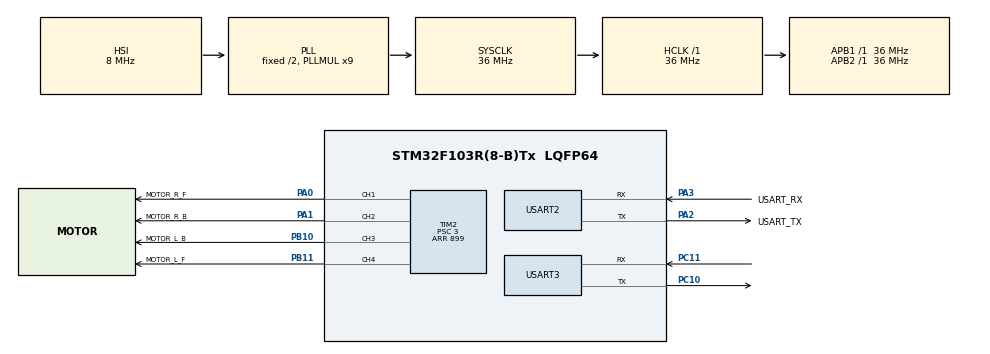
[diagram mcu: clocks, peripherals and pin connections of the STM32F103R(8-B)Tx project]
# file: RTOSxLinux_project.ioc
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FREERTOS.Tasks01=defaultTask,0,128,StartDefaultTask,Default,NULL,Dynamic,NULL,NULL
FREERTOS.configUSE_NEWLIB_REENTRANT=0
Mcu.Family=STM32F1
Mcu.Name=STM32F103R(8-B)Tx
Mcu.Package=LQFP64
NVIC.PriorityGroup=NVIC_PRIORITYGROUP_4
NVIC.TIM2_IRQn=true\:5\:0\:false\:false\:true\:true\:true\:true\:true
PA0-WKUP.GPIO_Label=MOTOR_R_F
PA0-WKUP.Signal=S_TIM2_CH1_ETR
PA1.GPIO_Label=MOTOR_R_B
PA1.Signal=S_TIM2_CH2
PA13.GPIO_Label=TMS
PA13.Mode=Serial_Wire
PA13.Signal=SYS_JTMS-SWDIO
PA14.GPIO_Label=TCK
PA14.Mode=Serial_Wire
PA14.Signal=SYS_JTCK-SWCLK
PA2.GPIO_Label=USART_TX
PA2.GPIO_Mode=GPIO_MODE_AF_PP
PA2.GPIO_PuPd=GPIO_NOPULL
PA2.GPIO_Speed=GPIO_SPEED_FREQ_LOW
PA2.Mode=Asynchronous
PA2.Signal=USART2_TX
PA3.GPIO_Label=USART_RX
PA3.GPIO_Mode=GPIO_MODE_AF_PP
PA3.GPIO_PuPd=GPIO_NOPULL
PA3.GPIO_Speed=GPIO_SPEED_FREQ_LOW
PA3.Mode=Asynchronous
PA3.Signal=USART2_RX
PB10.GPIO_Label=MOTOR_L_B
PB10.Signal=S_TIM2_CH3
PB11.GPIO_Label=MOTOR_L_F
PB11.Signal=S_TIM2_CH4
PC10.Mode=Asynchronous
PC10.Signal=USART3_TX
PC11.Mode=Asynchronous
PC11.Signal=USART3_RX
PC14-OSC32_IN.Mode=LSE-External-Oscillator
PC14-OSC32_IN.Signal=RCC_OSC32_IN
PC15-OSC32_OUT.Mode=LSE-External-Oscillator
PC15-OSC32_OUT.Signal=RCC_OSC32_OUT
PD0-OSC_IN.Mode=HSE-External-Oscillator
PD0-OSC_IN.Signal=RCC_OSC_IN
PD1-OSC_OUT.Mode=HSE-External-Oscillator
PD1-OSC_OUT.Signal=RCC_OSC_OUT
ProjectManager.HeapSize=0x200
ProjectManager.StackSize=0x400
ProjectManager.TargetToolchain=STM32CubeIDE
RCC.AHBFreq_Value=36000000
RCC.APB1Freq_Value=36000000
RCC.APB1TimFreq_Value=36000000
RCC.APB2Freq_Value=36000000
RCC.APB2TimFreq_Value=36000000
RCC.HCLKFreq_Value=36000000
RCC.PLLMUL=RCC_PLL_MUL9
RCC.RTCClockSelection=RCC_RTCCLKSOURCE_LSE
RCC.SYSCLKFreq_VALUE=36000000
RCC.SYSCLKSource=RCC_SYSCLKSOURCE_PLLCLK
RCC.USBFreq_Value=36000000
SH.S_TIM2_CH1_ETR.0=TIM2_CH1,PWM Generation1 CH1
SH.S_TIM2_CH2.0=TIM2_CH2,PWM Generation2 CH2
SH.S_TIM2_CH3.0=TIM2_CH3,PWM Generation3 CH3
SH.S_TIM2_CH4.0=TIM2_CH4,PWM Generation4 CH4
TIM2.Channel-PWM\ Generation1\ CH1=TIM_CHANNEL_1
TIM2.Channel-PWM\ Generation2\ CH2=TIM_CHANNEL_2
TIM2.Channel-PWM\ Generation3\ CH3=TIM_CHANNEL_3
TIM2.Channel-PWM\ Generation4\ CH4=TIM_CHANNEL_4
TIM2.Period=899
TIM2.Prescaler=3
TIM2.Pulse-PWM\ Generation1\ CH1=250
TIM2.Pulse-PWM\ Generation2\ CH2=0
TIM2.Pulse-PWM\ Generation3\ CH3=0
USART2.Parity=PARITY_NONE
USART2.VirtualMode=VM_ASYNC
USART3.VirtualMode=VM_ASYNC
VP_FREERTOS_VS_CMSIS_V1.Mode=CMSIS_V1
VP_TIM2_VS_ClockSourceINT.Mode=Internal
board=NUCLEO-F103RB

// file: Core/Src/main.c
/* USER CODE BEGIN Header */
/**
  ******************************************************************************
  * @file           : main.c
  * @brief          : Main program body
  ******************************************************************************
  * @attention
  *
  * Copyright (c) 2025 STMicroelectronics.
  * All rights reserved.
  *
  * This software is licensed under terms that can be found in the LICENSE file
  * in the root directory of this software component.
  * If no LICENSE file comes with this software, it is provided AS-IS.
  *
  ******************************************************************************
  */
/* USER CODE END Header */
#include "main.h"
#include "cmsis_os.h"

/* USER CODE BEGIN Includes */
#include "stm32f1xx_hal.h"
#include <stdio.h>
#include <string.h>
#include <stdlib.h>
#include <math.h>
/* USER CODE END Includes */

/* USER CODE BEGIN PTD */

typedef struct {
    float linear_v;  // 선형 속도 v
    float angular_w; // 각속도 w
} MotorCommand_t;

/* USER CODE END PTD */

/* USER CODE BEGIN PD */
//                         BOARD PIN   || MOTOR DRIVER PIN
// 왼쪽 모터 (Motor B)
#define MOTOR_L_F_Port      GPIOB       // B-IA가 연결된 포트
#define MOTOR_L_F_Pin       GPIO_PIN_11  // B-IA가 연결된 핀 (왼쪽 정방향)
#define MOTOR_L_B_Port      GPIOB       // B-IB가 연결된 포트
#define MOTOR_L_B_Pin       GPIO_PIN_10  // B-IB가 연결된 핀 (왼쪽 역방향)

/* ===========================
 *  PWM / Timer 설정
 * =========================== */
// PWM 주기 계산식: PWM_freq = Timer_clk / ((PSC+1) × (ARR+1))
#define PWM_TIMER_PERIOD      (899)   // ARR 값
#define MOTOR_PWM_DEADZONE    (670)   // 모터가 돌기 시작하는 최소 Pulse 값
#define PWM_CLIP              (PWM_TIMER_PERIOD)

/* ===========================
 * 바퀴 파라미터
 * =========================== */
#define WHEEL_RADIUS_M        (0.033f)   // 바퀴 반지름 [m]
#define WHEEL_BASE_M          (0.12f)    // 좌/우 바퀴 간 거리 [m]

/* ===========================
 *  모터 파라미터
 * =========================== */
#define MOTOR_MAX_RPM         (200.0f)   // 모터 최대 RPM (HC02-48 모터로 추정됨)
#define MOTOR_DEADZONE_RPM    (10.0f)

/* ===========================
 *  제어 파라미터 (튜닝 필요)
 * =========================== */
#define KP_ANG                (0.3f)   // [rad -> rad/s] 각속도 비례 게인
#define BETA_CURVE            (0.03f)    // 조향각 클수록 감속 (rad 기준)
#define V_TARGET              (0.1f)    // 기본 목표 선속도 [m/s]

/* 속도 제한/보정 */
#define V_MIN_CLAMP           (0.005f)   // 최소 선속도 제한 [m/s]
#define V_MAX_CLAMP           (0.05f)    // 최대 선속도 제한 [m/s]

/* ===========================
 *  필터링 / 제어 주기
 * =========================== */
#define ALPHA_V               (0.2f)     // 속도 스무딩 계수 (0~1)
#define ALPHA_W               (0.3f)     // 각속도 스무딩 계수
#define CONTROL_PERIOD_MS     (20)       // 모터 제어 주기 [ms] (50Hz)

// FreeRTOS
#define UART_LINE_MAX         (50)
#define MOTOR_QUEUE_DEPTH     (4)

/* USER CODE END PD */

TIM_HandleTypeDef htim2;

UART_HandleTypeDef huart2;
UART_HandleTypeDef huart3;

osThreadId defaultTaskHandle;
/* USER CODE BEGIN PV */
QueueHandle_t motorCommandQueue;

TaskHandle_t uartReceiveTaskHandle;
TaskHandle_t motorControlTaskHandle;

/* UART 인터럽트 수신용 */
static uint8_t  uart_rx_byte;
static char     uart_line_buf[UART_LINE_MAX];
static uint8_t  uart_line_idx = 0;

/* USER CODE END PV */

void SystemClock_Config(void);
static void MX_GPIO_Init(void);
static void MX_USART2_UART_Init(void);
static void MX_USART3_UART_Init(void);
static void MX_TIM2_Init(void);
void StartDefaultTask(void const * argument);

/* USER CODE BEGIN PFP */
void uartReceiveTask(void * argument);
void motorControlTask(void * argument);
void executeMotorControl(float v, float w);
void Motor_SetSpeed(int motor_id, float rpm);

int _write(int file, char *ptr, int len)
{
  HAL_UART_Transmit(&huart2, (uint8_t*)ptr, len, HAL_MAX_DELAY);
  return len;
}

static inline float clampf(float v, float lo, float hi) {
    if (v < lo) return lo;
    if (v > hi) return hi;
    return v;
}
static inline float deg2rad(float d) { return d * (float)M_PI / 180.0f; }

/* USER CODE END PFP */

int main(void)
{

  /* MCU Configuration--------------------------------------------------------*/

  /* Reset of all peripherals, Initializes the Flash interface and the Systick. */
  HAL_Init();

  /* Configure the system clock */
  SystemClock_Config();

  /* Initialize all configured peripherals */
  MX_GPIO_Init();
  MX_USART2_UART_Init();
  MX_USART3_UART_Init();
  MX_TIM2_Init();
  /* USER CODE BEGIN 2 */
  HAL_TIM_PWM_Start(&htim2, TIM_CHANNEL_1); // L_IA
  HAL_TIM_PWM_Start(&htim2, TIM_CHANNEL_2); // L_IB
  HAL_TIM_PWM_Start(&htim2, TIM_CHANNEL_3); // R_IA
  HAL_TIM_PWM_Start(&htim2, TIM_CHANNEL_4); // R_IB
  /* USER CODE END 2 */

  /* USER CODE BEGIN RTOS_QUEUES */
  /* add queues, ... */
  motorCommandQueue = xQueueCreate(5, sizeof(MotorCommand_t));
  /* USER CODE END RTOS_QUEUES */

  /* Create the thread(s) */
  /* definition and creation of defaultTask */
  osThreadDef(defaultTask, StartDefaultTask, osPriorityNormal, 0, 128);
  defaultTaskHandle = osThreadCreate(osThread(defaultTask), NULL);

  /* USER CODE BEGIN RTOS_THREADS */
  /* add threads, ... */

  // 태스크 생성
  xTaskCreate(uartReceiveTask, "UART_Rx_Task", 256, NULL, 1, NULL);
  xTaskCreate(motorControlTask, "Motor_Ctrl_Task", 256, NULL, 2, NULL);
  /* USER CODE END RTOS_THREADS */

  /* Start scheduler */
  osKernelStart();

  /* We should never get here as control is now taken by the scheduler */

  /* Infinite loop */
  while (1)
  {
  }
}

void SystemClock_Config(void)
{
  RCC_OscInitTypeDef RCC_OscInitStruct = {0};
  RCC_ClkInitTypeDef RCC_ClkInitStruct = {0};

  /** Initializes the RCC Oscillators according to the specified parameters
  * in the RCC_OscInitTypeDef structure.
  */
  RCC_OscInitStruct.OscillatorType = RCC_OSCILLATORTYPE_HSI;
  RCC_OscInitStruct.HSIState = RCC_HSI_ON;
  RCC_OscInitStruct.HSICalibrationValue = RCC_HSICALIBRATION_DEFAULT;
  RCC_OscInitStruct.PLL.PLLState = RCC_PLL_ON;
  RCC_OscInitStruct.PLL.PLLSource = RCC_PLLSOURCE_HSI_DIV2;
  RCC_OscInitStruct.PLL.PLLMUL = RCC_PLL_MUL9;
  if (HAL_RCC_OscConfig(&RCC_OscInitStruct) != HAL_OK)
  {
    Error_Handler();
  }

  /** Initializes the CPU, AHB and APB buses clocks
  */
  RCC_ClkInitStruct.ClockType = RCC_CLOCKTYPE_HCLK|RCC_CLOCKTYPE_SYSCLK
                              |RCC_CLOCKTYPE_PCLK1|RCC_CLOCKTYPE_PCLK2;
  RCC_ClkInitStruct.SYSCLKSource = RCC_SYSCLKSOURCE_PLLCLK;
  RCC_ClkInitStruct.AHBCLKDivider = RCC_SYSCLK_DIV1;
  RCC_ClkInitStruct.APB1CLKDivider = RCC_HCLK_DIV1;
  RCC_ClkInitStruct.APB2CLKDivider = RCC_HCLK_DIV1;

  if (HAL_RCC_ClockConfig(&RCC_ClkInitStruct, FLASH_LATENCY_1) != HAL_OK)
  {
    Error_Handler();
  }
}

static void MX_TIM2_Init(void)
{

  TIM_ClockConfigTypeDef sClockSourceConfig = {0};
  TIM_MasterConfigTypeDef sMasterConfig = {0};
  TIM_OC_InitTypeDef sConfigOC = {0};

  htim2.Instance = TIM2;
  htim2.Init.Prescaler = 3;
  htim2.Init.CounterMode = TIM_COUNTERMODE_UP;
  htim2.Init.Period = 899;
  htim2.Init.ClockDivision = TIM_CLOCKDIVISION_DIV1;
  htim2.Init.AutoReloadPreload = TIM_AUTORELOAD_PRELOAD_DISABLE;
  if (HAL_TIM_Base_Init(&htim2) != HAL_OK)
  {
    Error_Handler();
  }
  sClockSourceConfig.ClockSource = TIM_CLOCKSOURCE_INTERNAL;
  if (HAL_TIM_ConfigClockSource(&htim2, &sClockSourceConfig) != HAL_OK)
  {
    Error_Handler();
  }
  if (HAL_TIM_PWM_Init(&htim2) != HAL_OK)
  {
    Error_Handler();
  }
  sMasterConfig.MasterOutputTrigger = TIM_TRGO_RESET;
  sMasterConfig.MasterSlaveMode = TIM_MASTERSLAVEMODE_DISABLE;
  if (HAL_TIMEx_MasterConfigSynchronization(&htim2, &sMasterConfig) != HAL_OK)
  {
    Error_Handler();
  }
  sConfigOC.OCMode = TIM_OCMODE_PWM1;
  sConfigOC.Pulse = 250;
  sConfigOC.OCPolarity = TIM_OCPOLARITY_HIGH;
  sConfigOC.OCFastMode = TIM_OCFAST_DISABLE;
  if (HAL_TIM_PWM_ConfigChannel(&htim2, &sConfigOC, TIM_CHANNEL_1) != HAL_OK)
  {
    Error_Handler();
  }
  sConfigOC.Pulse = 0;
  if (HAL_TIM_PWM_ConfigChannel(&htim2, &sConfigOC, TIM_CHANNEL_2) != HAL_OK)
  {
    Error_Handler();
  }
  if (HAL_TIM_PWM_ConfigChannel(&htim2, &sConfigOC, TIM_CHANNEL_3) != HAL_OK)
  {
    Error_Handler();
  }
  if (HAL_TIM_PWM_ConfigChannel(&htim2, &sConfigOC, TIM_CHANNEL_4) != HAL_OK)
  {
    Error_Handler();
  }
  HAL_TIM_MspPostInit(&htim2);

}

static void MX_USART2_UART_Init(void)
{

  huart2.Instance = USART2;
  huart2.Init.BaudRate = 115200;
  huart2.Init.WordLength = UART_WORDLENGTH_8B;
  huart2.Init.StopBits = UART_STOPBITS_1;
  huart2.Init.Parity = UART_PARITY_NONE;
  huart2.Init.Mode = UART_MODE_TX_RX;
  huart2.Init.HwFlowCtl = UART_HWCONTROL_NONE;
  huart2.Init.OverSampling = UART_OVERSAMPLING_16;
  if (HAL_UART_Init(&huart2) != HAL_OK)
  {
    Error_Handler();
  }

}

static void MX_USART3_UART_Init(void)
{

  huart3.Instance = USART3;
  huart3.Init.BaudRate = 115200;
  huart3.Init.WordLength = UART_WORDLENGTH_8B;
  huart3.Init.StopBits = UART_STOPBITS_1;
  huart3.Init.Parity = UART_PARITY_NONE;
  huart3.Init.Mode = UART_MODE_TX_RX;
  huart3.Init.HwFlowCtl = UART_HWCONTROL_NONE;
  huart3.Init.OverSampling = UART_OVERSAMPLING_16;
  if (HAL_UART_Init(&huart3) != HAL_OK)
  {
    Error_Handler();
  }

}

static void MX_GPIO_Init(void)
{

  /* GPIO Ports Clock Enable */
  __HAL_RCC_GPIOC_CLK_ENABLE();
  __HAL_RCC_GPIOD_CLK_ENABLE();
  __HAL_RCC_GPIOA_CLK_ENABLE();
  __HAL_RCC_GPIOB_CLK_ENABLE();

}

/* USER CODE BEGIN 4 */

/* UART 수신 초기화 & 라인 파서 태스크
   - 인터럽트에서 바로 큐에 MotorCommand_t를 넣으므로
     이 태스크는 모니터링/기타 유지보수용(옵션)로 비워둘 수도 있음 */
void uartReceiveTask(void *argument) {
    // 인터럽트 수신 시작(한 바이트씩)
    HAL_UART_Receive_IT(&huart3, &uart_rx_byte, 1);

    for(;;) {
        // 필요 시 상태 출력/워치독/통계 등
        osDelay(1000);
    }
}

/* 메인 모터 제어 태스크 */
void motorControlTask(void *argument) {
	// 디버깅 버퍼
	static char dbg_buf[128];
    MotorCommand_t receivedCmd;
    float target_v = 0.0f; // 명령 목표
    float target_w = 0.0f;

    float filt_v = 0.0f;   // 필터된 목표
    float filt_w = 0.0f;

    for(;;) {
        // 1) 새 명령 수신 (있으면 즉시 업데이트)
        while (xQueueReceive(motorCommandQueue, &receivedCmd, 0) == pdPASS) {
            target_v = receivedCmd.linear_v;
            target_w = receivedCmd.angular_w;
        }

        //----------------//
        // === [테스트 입력: 항상 90도] ===
//	   int ai_angle = 0;
//
//	   // 변환 (90도면 steering_deg=0 → steering_rad=0)
//	   float steering_deg = (float)ai_angle - 90.0f;
//	   float steering_rad = deg2rad(steering_deg);
//
//	   target_w = KP_ANG * steering_rad;   // 항상 0
//	   float v_cmd = V_TARGET / (1.0f + BETA_CURVE * fabsf(steering_rad));
//	   target_v = clampf(v_cmd, V_MIN_CLAMP, V_MAX_CLAMP);
	   //------------------//

	   // 2) 스무딩 (저역통과)
        filt_v = (1.0f - ALPHA_V) * filt_v + ALPHA_V * target_v;
        filt_w = (1.0f - ALPHA_W) * filt_w + ALPHA_W * target_w;

        // 3) 좌/우 바퀴의 선속도 계산 (차동구동)
        float v_left  = filt_v - (filt_w * WHEEL_BASE_M) * 0.5f;
        float v_right = filt_v + (filt_w * WHEEL_BASE_M) * 0.5f;

        // 4) 선속도 -> RPM 변환
        //    wheel angular speed [rad/s] = v / R
        //    RPM = rad/s * 60 / (2*pi)
        float rpm_left  = (v_left  / WHEEL_RADIUS_M) * 60.0f / (2.0f * (float)M_PI);
        float rpm_right = (v_right / WHEEL_RADIUS_M) * 60.0f / (2.0f * (float)M_PI);

        // --- [디버깅 코드] 주요 제어 값들을 UART2로 출력 ---
		    int len = sprintf(dbg_buf, "T_v:%.2f, T_w:%.2f | L_rpm:%.1f, R_rpm:%.1f\r\n",
						  target_v, target_w, rpm_left, rpm_right);
		  HAL_UART_Transmit(&huart2, (uint8_t*)dbg_buf, len, 100);
		// ------------------------------------------------

        // 5) 모터 구동
        Motor_SetSpeed(0, rpm_left);
        Motor_SetSpeed(1, rpm_right);

        osDelay(20);
    }
}

/* ===========================
 *  모터 PWM 출력
 *  - 데드존 처리 & 방향 제어
 * =========================== */
void Motor_SetSpeed(int motor_id, float rpm) {
	// 디버깅 버퍼
	static char dbg_buf[128];
    // 1) 아주 작은 속도는 정지 처리(데드존)
    float abs_rpm = fabsf(rpm);
//    if (abs_rpm < MOTOR_DEADZONE_RPM) {
//        if (motor_id == 0) { // 왼쪽
//            __HAL_TIM_SET_COMPARE(&htim2, TIM_CHANNEL_4, 620);
//            __HAL_TIM_SET_COMPARE(&htim2, TIM_CHANNEL_3, 620);
//        } else {             // 오른쪽
//            __HAL_TIM_SET_COMPARE(&htim2, TIM_CHANNEL_1, 620);
//            __HAL_TIM_SET_COMPARE(&htim2, TIM_CHANNEL_2, 620);
//        }
//        return;
//    }

    // 2) 유효 구간 선형 매핑: [DEADZONE_RPM..MAX] -> [MOTOR_PWM_DEADZONE..PWM_TIMER_PERIOD]
    float span_rpm = MOTOR_MAX_RPM - MOTOR_DEADZONE_RPM;
    if (span_rpm < 1.0f) span_rpm = 1.0f; // 0으로 나눔 방지

    float norm = (abs_rpm - MOTOR_DEADZONE_RPM) / span_rpm; // 0~1
    if (norm < 0.0f) norm = 0.0f;
    if (norm > 1.0f) norm = 1.0f;

    uint32_t pwm_range = PWM_TIMER_PERIOD - MOTOR_PWM_DEADZONE;
    uint32_t pulse = MOTOR_PWM_DEADZONE + (uint32_t)(norm * pwm_range);

    if (pulse > PWM_TIMER_PERIOD) pulse = PWM_TIMER_PERIOD;

    // --- [디버깅 코드] 최종 RPM과 PWM Pulse 값을 UART2로 출력 ---
	int len = sprintf(dbg_buf, "  -> M%d: RPM=%.1f, Pulse=%u\r\n", motor_id, rpm, (unsigned int)pulse);
	HAL_UART_Transmit(&huart2, (uint8_t*)dbg_buf, len, 100);
	// -------------------------------------------------------

    // 3) 방향 출력 (배선에 따라 부호 반전 필요할 수 있음)
    if (motor_id == 0) { // 왼쪽
        if (rpm > 0) {   // 정방향
            __HAL_TIM_SET_COMPARE(&htim2, TIM_CHANNEL_4, pulse);
            __HAL_TIM_SET_COMPARE(&htim2, TIM_CHANNEL_3, 0);
        } else {         // 역방향
            __HAL_TIM_SET_COMPARE(&htim2, TIM_CHANNEL_4, 0);
            __HAL_TIM_SET_COMPARE(&htim2, TIM_CHANNEL_3, pulse);
        }
    } else if (motor_id == 1) { // 오른쪽
        if (rpm > 0) {
            __HAL_TIM_SET_COMPARE(&htim2, TIM_CHANNEL_1, pulse);
            __HAL_TIM_SET_COMPARE(&htim2, TIM_CHANNEL_2, 0);
        } else {
            __HAL_TIM_SET_COMPARE(&htim2, TIM_CHANNEL_1, 0);
            __HAL_TIM_SET_COMPARE(&htim2, TIM_CHANNEL_2, pulse);
        }
    }
}

void HAL_UART_RxCpltCallback(UART_HandleTypeDef *huart) {
    if (huart == &huart3) {
        char c = (char)uart_rx_byte;

        if (c != '\n' && c != '\r') {
            if (uart_line_idx < UART_LINE_MAX - 1) {
                uart_line_buf[uart_line_idx++] = c;
            } else {
                // 오버플로우: 리셋
                uart_line_idx = 0;
            }
        } else {
            uart_line_buf[uart_line_idx] = '\0';

            // 입력이 "정수\n" 형식임이 보장됨
            int ai_angle = atoi(uart_line_buf);

            // 0~180 범위 보정
            if (ai_angle < 0) ai_angle = 0;
            if (ai_angle > 180) ai_angle = 180;

            float steering_deg = (float)ai_angle - 90.0f;      // -90 ~ +90 [deg]
            float steering_rad = deg2rad(steering_deg);        // [rad]

            MotorCommand_t cmd;
            cmd.angular_w = KP_ANG * steering_rad;             // [rad/s]
            float v_cmd = V_TARGET / (1.0f + BETA_CURVE * fabsf(steering_rad));
            cmd.linear_v = clampf(v_cmd, V_MIN_CLAMP, V_MAX_CLAMP);

            BaseType_t hpTaskWoken = pdFALSE;
            xQueueSendFromISR(motorCommandQueue, &cmd, &hpTaskWoken);
            portYIELD_FROM_ISR(hpTaskWoken);

            uart_line_idx = 0;
        }

        // 다음 바이트 수신 재개
        HAL_UART_Receive_IT(&huart3, &uart_rx_byte, 1);
    }
}

/* USER CODE END 4 */

void StartDefaultTask(void const * argument)
{
  for(;;)
  {
    osDelay(1);
  }
}

void Error_Handler(void)
{
  __disable_irq();
  while (1)
  {
  }
}
